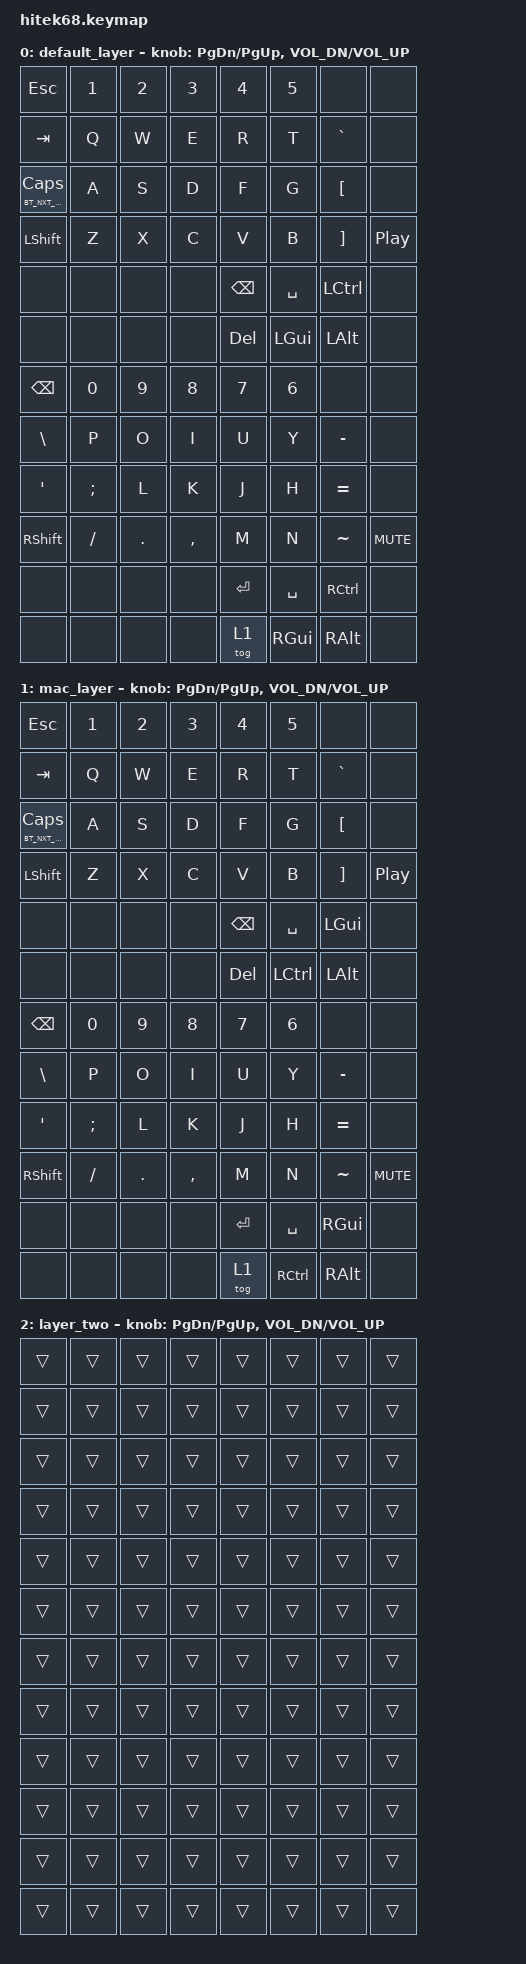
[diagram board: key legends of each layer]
#include <behaviors.dtsi>
#include <dt-bindings/zmk/bt.h>
#include <dt-bindings/zmk/keys.h>

/ {
    behaviors {
        caps_bt: caps_bt {
            compatible = "zmk,behavior-hold-tap";
            #binding-cells = <2>;
            tapping-term-ms = <200>;
            flavor = "tap-unless-interrupted";
            bindings = <&bt>, <&kp>;
        };
    };

    keymap {
        compatible = "zmk,keymap";

        /*
         * 96 positions: 0-47 = left half, 48-95 = right half.
         * The right half is a mirrored PCB, so its rows below are listed
         * inner-to-outer (COL6 .. COL0), matching the physical key order.
         *
         * Layer 0 = Windows layout, Layer 1 = Mac layout
         * (identical except Ctrl and GUI are swapped).
         * Position 92 (right thumb, bottom-outer) is &tog 1 on both
         * layers: it switches Windows -> Mac and Mac -> Windows.
         *
         * Caps (position 16) uses the custom caps_bt hold-tap
         * (&caps_bt BT_NXT_CMD CAPS): tap = Caps Lock, a clean
         * uninterrupted hold = next Bluetooth profile (BT_NXT).
         * Layer 2 is unused.
         *
         * Position 31 / 79 = encoder push switch (matrix ROW3/COL7).
         * Encoder push (ROW3/COL7): left = play/pause, right = mute.
         */
        default_layer {
            bindings = <
                /* LEFT (0-47) */
                &kp ESC    &kp N1 &kp N2 &kp N3 &kp N4 &kp N5 &none &none
                &kp TAB    &kp Q  &kp W  &kp E  &kp R  &kp T  &kp GRAVE &none
                &caps_bt BT_NXT_CMD CAPS  &kp A  &kp S  &kp D  &kp F  &kp G  &kp LBKT  &none
                &kp LSHIFT &kp Z  &kp X  &kp C  &kp V  &kp B  &kp RBKT  &kp C_PP
                &none &none &none &none &kp BSPC &kp SPACE &kp LCTRL &none
                &none &none &none &none &kp DEL  &kp LGUI  &kp LALT  &none
                /* RIGHT (48-95) */
                &kp BSPC   &kp N0 &kp N9 &kp N8 &kp N7 &kp N6 &none &none
                &kp BSLH   &kp P  &kp O  &kp I  &kp U  &kp Y  &kp MINUS &none
                &kp SQT    &kp SEMI &kp L &kp K &kp J  &kp H  &kp EQUAL &none
                &kp RSHIFT &kp FSLH &kp DOT &kp COMMA &kp M &kp N &kp TILDE &kp C_MUTE
                &none &none &none &none &kp ENTER &kp SPACE &kp RCTRL &none
                &none &none &none &none &tog 1    &kp RGUI  &kp RALT  &none
            >;
            /* sensor 0 = left encoder, sensor 1 = right encoder */
            sensor-bindings = <&inc_dec_kp PG_DN PG_UP &inc_dec_kp C_VOL_DN C_VOL_UP>;
        };

        mac_layer {
            bindings = <
                /* LEFT (0-47) */
                &kp ESC    &kp N1 &kp N2 &kp N3 &kp N4 &kp N5 &none &none
                &kp TAB    &kp Q  &kp W  &kp E  &kp R  &kp T  &kp GRAVE &none
                &caps_bt BT_NXT_CMD CAPS  &kp A  &kp S  &kp D  &kp F  &kp G  &kp LBKT  &none
                &kp LSHIFT &kp Z  &kp X  &kp C  &kp V  &kp B  &kp RBKT  &kp C_PP
                &none &none &none &none &kp BSPC &kp SPACE &kp LGUI &none
                &none &none &none &none &kp DEL  &kp LCTRL &kp LALT &none
                /* RIGHT (48-95) */
                &kp BSPC   &kp N0 &kp N9 &kp N8 &kp N7 &kp N6 &none &none
                &kp BSLH   &kp P  &kp O  &kp I  &kp U  &kp Y  &kp MINUS &none
                &kp SQT    &kp SEMI &kp L &kp K &kp J  &kp H  &kp EQUAL &none
                &kp RSHIFT &kp FSLH &kp DOT &kp COMMA &kp M &kp N &kp TILDE &kp C_MUTE
                &none &none &none &none &kp ENTER &kp SPACE &kp RGUI &none
                &none &none &none &none &tog 1    &kp RCTRL &kp RALT &none
            >;
            /* sensor 0 = left encoder, sensor 1 = right encoder */
            sensor-bindings = <&inc_dec_kp PG_DN PG_UP &inc_dec_kp C_VOL_DN C_VOL_UP>;
        };

        layer_two {
            bindings = <
                &trans &trans &trans &trans &trans &trans &trans &trans
                &trans &trans &trans &trans &trans &trans &trans &trans
                &trans &trans &trans &trans &trans &trans &trans &trans
                &trans &trans &trans &trans &trans &trans &trans &trans
                &trans &trans &trans &trans &trans &trans &trans &trans
                &trans &trans &trans &trans &trans &trans &trans &trans
                &trans &trans &trans &trans &trans &trans &trans &trans
                &trans &trans &trans &trans &trans &trans &trans &trans
                &trans &trans &trans &trans &trans &trans &trans &trans
                &trans &trans &trans &trans &trans &trans &trans &trans
                &trans &trans &trans &trans &trans &trans &trans &trans
                &trans &trans &trans &trans &trans &trans &trans &trans
            >;
            sensor-bindings = <&inc_dec_kp PG_DN PG_UP &inc_dec_kp C_VOL_DN C_VOL_UP>;
        };
    };
};
